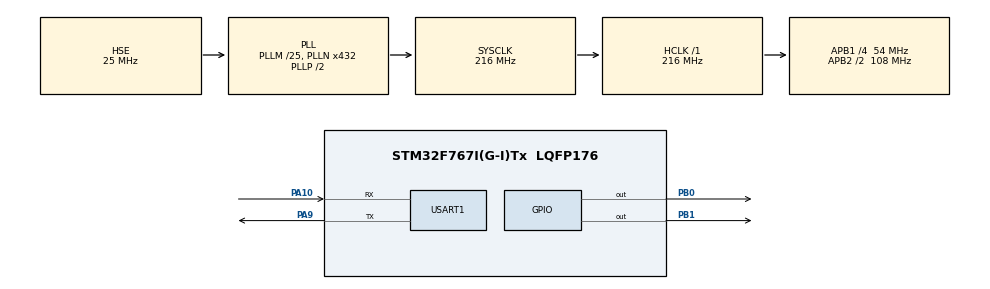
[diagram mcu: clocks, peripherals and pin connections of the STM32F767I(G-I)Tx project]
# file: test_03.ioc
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CORTEX_M7.default_mode_Activation=1
Mcu.Family=STM32F7
Mcu.Name=STM32F767I(G-I)Tx
Mcu.Package=LQFP176
NVIC.PriorityGroup=NVIC_PRIORITYGROUP_2
NVIC.USART1_IRQn=true\:3\:3\:true\:false\:true\:true\:true\:true
PA10.GPIO_ModeDefaultPP=GPIO_MODE_AF_PP
PA10.GPIO_PuPd=GPIO_PULLUP
PA10.Mode=Asynchronous
PA10.Signal=USART1_RX
PA9.GPIO_ModeDefaultPP=GPIO_MODE_AF_PP
PA9.GPIO_PuPd=GPIO_PULLUP
PA9.Mode=Asynchronous
PA9.Signal=USART1_TX
PB0.GPIO_ModeDefaultOutputPP=GPIO_MODE_OUTPUT_PP
PB0.GPIO_PuPd=GPIO_PULLUP
PB0.GPIO_Speed=GPIO_SPEED_FREQ_HIGH
PB0.PinState=GPIO_PIN_SET
PB0.Signal=GPIO_Output
PB1.GPIO_ModeDefaultOutputPP=GPIO_MODE_OUTPUT_PP
PB1.GPIO_PuPd=GPIO_PULLUP
PB1.GPIO_Speed=GPIO_SPEED_FREQ_HIGH
PB1.PinState=GPIO_PIN_SET
PB1.Signal=GPIO_Output
PH0/OSC_IN.Mode=HSE-External-Oscillator
PH0/OSC_IN.Signal=RCC_OSC_IN
PH1/OSC_OUT.Mode=HSE-External-Oscillator
PH1/OSC_OUT.Signal=RCC_OSC_OUT
ProjectManager.HeapSize=0x200
ProjectManager.StackSize=0x400
ProjectManager.TargetToolchain=MDK-ARM V5.32
RCC.AHBFreq_Value=216000000
RCC.APB1CLKDivider=RCC_HCLK_DIV4
RCC.APB1Freq_Value=54000000
RCC.APB1TimFreq_Value=108000000
RCC.APB2CLKDivider=RCC_HCLK_DIV2
RCC.APB2Freq_Value=108000000
RCC.APB2TimFreq_Value=216000000
RCC.CortexFreq_Value=216000000
RCC.HCLKFreq_Value=216000000
RCC.HSE_VALUE=25000000
RCC.HSI_VALUE=16000000
RCC.LSE_VALUE=32768
RCC.PLLM=25
RCC.PLLN=432
RCC.PLLSourceVirtual=RCC_PLLSOURCE_HSE
RCC.SYSCLKFreq_VALUE=216000000
RCC.SYSCLKSource=RCC_SYSCLKSOURCE_PLLCLK
RCC.USBFreq_Value=216000000
RCC.VCOOutputFreq_Value=432000000
USART1.VirtualMode-Asynchronous=VM_ASYNC
board=custom

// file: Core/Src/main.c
/* USER CODE BEGIN Header */
/**
  ******************************************************************************
  * @file           : main.c
  * @brief          : Main program body
  ******************************************************************************
  * @attention
  *
  * Copyright (c) 2022 STMicroelectronics.
  * All rights reserved.
  *
  * This software is licensed under terms that can be found in the LICENSE file
  * in the root directory of this software component.
  * If no LICENSE file comes with this software, it is provided AS-IS.
  *
  ******************************************************************************
  */
/* USER CODE END Header */
#include "main.h"

/* USER CODE BEGIN Includes */
#include "stdio.h"		//引入标准输入输出头文件
/* USER CODE END Includes */

UART_HandleTypeDef huart1;

/* USER CODE BEGIN PV */
uint16_t times=0;
uint8_t USART_RX_BUF[USART_REC_LEN];     //接收缓冲,最大USART_REC_LEN个字节.
//接收状态
//bit15，	接收完成标志
//bit14，	接收到0x0d
//bit13~0，	接收到的有效字节数目
uint16_t USART_RX_STA=0;       //接收状态标记
uint8_t aRxBuffer[RXBUFFERSIZE];//HAL库使用的串口接收缓冲
/* USER CODE END PV */

void SystemClock_Config(void);
static void MPU_Config(void);
static void MX_GPIO_Init(void);
static void MX_USART1_UART_Init(void);

/* USER CODE BEGIN 0 */
//加入以下代码,支持printf函数,而不需要选择use MicroLIB
#if 1
#pragma import(__use_no_semihosting)
//解决HAL库使用时,某些情况可能报错的bug
int _ttywrch(int ch)
{
    ch=ch;
	return ch;
}
//标准库需要的支持函数
struct __FILE
{
	int handle;
	/* Whatever you require here. If the only file you are using is */
	/* standard output using printf() for debugging, no file handling */
	/* is required. */
};
/* FILE is typedef’ d in stdio.h. */
FILE __stdout;
//定义_sys_exit()以避免使用半主机模式
void _sys_exit(int x)
{
	x = x;
}
//重定义fputc函数
int fputc(int ch, FILE *f)
{
	while((USART1->ISR&0X40)==0);//循环发送,直到发送完毕
	USART1->TDR = (uint8_t) ch;
	return ch;
}
#endif
//end
/* USER CODE END 0 */

int main(void)
{
  /* USER CODE BEGIN 1 */
  uint8_t len;
  /* USER CODE END 1 */

  /* MPU Configuration--------------------------------------------------------*/
  MPU_Config();

  /* MCU Configuration--------------------------------------------------------*/

  /* Reset of all peripherals, Initializes the Flash interface and the Systick. */
  HAL_Init();

  /* Configure the system clock */
  SystemClock_Config();

  /* Initialize all configured peripherals */
  MX_GPIO_Init();
  MX_USART1_UART_Init();
  /* USER CODE BEGIN 2 */
  HAL_UART_Receive_IT(&huart1, (uint8_t *)aRxBuffer, RXBUFFERSIZE);		//打开串口1接收中断
  /* USER CODE END 2 */

  /* Infinite loop */
  /* USER CODE BEGIN WHILE */
  while (1)
  {
       if(USART_RX_STA&0x8000)
		{
			len=USART_RX_STA&0x3fff;//得到此次接收到的数据长度
			printf("\r\n您发送的消息为:\r\n");
			HAL_UART_Transmit(&huart1,(uint8_t*)USART_RX_BUF,len,1000);	//发送接收到的数据
			while(__HAL_UART_GET_FLAG(&huart1,UART_FLAG_TC)!=SET);		//等待发送结束
			printf("\r\n\r\n");//插入换行
			USART_RX_STA=0;
		}else
		{
			times++;
			if(times%5000==0)
			{
				printf("\r\nALIENTEK STM32F7开发板 串口实验\r\n");
				printf("正点原子@ALIENTEK\r\n\r\n\r\n");
			}
			if(times%200==0)printf("请输入数据,以回车键结束\r\n");
			if(times%30==0)LED0_Toggle;//闪烁LED,提示系统正在运行.
			HAL_Delay(10);
		}
    /* USER CODE END WHILE */

  }
}

void SystemClock_Config(void)
{
  RCC_OscInitTypeDef RCC_OscInitStruct = {0};
  RCC_ClkInitTypeDef RCC_ClkInitStruct = {0};

  /** Configure the main internal regulator output voltage
  */
  __HAL_RCC_PWR_CLK_ENABLE();
  __HAL_PWR_VOLTAGESCALING_CONFIG(PWR_REGULATOR_VOLTAGE_SCALE1);

  /** Initializes the RCC Oscillators according to the specified parameters
  * in the RCC_OscInitTypeDef structure.
  */
  RCC_OscInitStruct.OscillatorType = RCC_OSCILLATORTYPE_HSE;
  RCC_OscInitStruct.HSEState = RCC_HSE_ON;
  RCC_OscInitStruct.PLL.PLLState = RCC_PLL_ON;
  RCC_OscInitStruct.PLL.PLLSource = RCC_PLLSOURCE_HSE;
  RCC_OscInitStruct.PLL.PLLM = 25;
  RCC_OscInitStruct.PLL.PLLN = 432;
  RCC_OscInitStruct.PLL.PLLP = RCC_PLLP_DIV2;
  RCC_OscInitStruct.PLL.PLLQ = 2;
  RCC_OscInitStruct.PLL.PLLR = 2;
  if (HAL_RCC_OscConfig(&RCC_OscInitStruct) != HAL_OK)
  {
    Error_Handler();
  }

  /** Activate the Over-Drive mode
  */
  if (HAL_PWREx_EnableOverDrive() != HAL_OK)
  {
    Error_Handler();
  }

  /** Initializes the CPU, AHB and APB buses clocks
  */
  RCC_ClkInitStruct.ClockType = RCC_CLOCKTYPE_HCLK|RCC_CLOCKTYPE_SYSCLK
                              |RCC_CLOCKTYPE_PCLK1|RCC_CLOCKTYPE_PCLK2;
  RCC_ClkInitStruct.SYSCLKSource = RCC_SYSCLKSOURCE_PLLCLK;
  RCC_ClkInitStruct.AHBCLKDivider = RCC_SYSCLK_DIV1;
  RCC_ClkInitStruct.APB1CLKDivider = RCC_HCLK_DIV4;
  RCC_ClkInitStruct.APB2CLKDivider = RCC_HCLK_DIV2;

  if (HAL_RCC_ClockConfig(&RCC_ClkInitStruct, FLASH_LATENCY_7) != HAL_OK)
  {
    Error_Handler();
  }
}

static void MX_USART1_UART_Init(void)
{

  huart1.Instance = USART1;
  huart1.Init.BaudRate = 115200;
  huart1.Init.WordLength = UART_WORDLENGTH_8B;
  huart1.Init.StopBits = UART_STOPBITS_1;
  huart1.Init.Parity = UART_PARITY_NONE;
  huart1.Init.Mode = UART_MODE_TX_RX;
  huart1.Init.HwFlowCtl = UART_HWCONTROL_NONE;
  huart1.Init.OverSampling = UART_OVERSAMPLING_16;
  huart1.Init.OneBitSampling = UART_ONE_BIT_SAMPLE_DISABLE;
  huart1.AdvancedInit.AdvFeatureInit = UART_ADVFEATURE_NO_INIT;
  if (HAL_UART_Init(&huart1) != HAL_OK)
  {
    Error_Handler();
  }

}

static void MX_GPIO_Init(void)
{
  GPIO_InitTypeDef GPIO_InitStruct = {0};

  /* GPIO Ports Clock Enable */
  __HAL_RCC_GPIOH_CLK_ENABLE();
  __HAL_RCC_GPIOB_CLK_ENABLE();
  __HAL_RCC_GPIOA_CLK_ENABLE();

  /*Configure GPIO pin Output Level */
  HAL_GPIO_WritePin(GPIOB, GPIO_PIN_0|GPIO_PIN_1, GPIO_PIN_SET);

  /*Configure GPIO pins : PB0 PB1 */
  GPIO_InitStruct.Pin = GPIO_PIN_0|GPIO_PIN_1;
  GPIO_InitStruct.Mode = GPIO_MODE_OUTPUT_PP;
  GPIO_InitStruct.Pull = GPIO_PULLUP;
  GPIO_InitStruct.Speed = GPIO_SPEED_FREQ_HIGH;
  HAL_GPIO_Init(GPIOB, &GPIO_InitStruct);

}

/* USER CODE BEGIN 4 */
//中断接收完毕回调函数
void HAL_UART_RxCpltCallback(UART_HandleTypeDef *huart)
{
	if((USART_RX_STA&0x8000)==0)//接收未完成
	{
		if(USART_RX_STA&0x4000)//接收到了0x0d
		{
			if(aRxBuffer[0]!=0x0a)USART_RX_STA=0;//接收错误,重新开始
			else USART_RX_STA|=0x8000;	//接收完成了
		}
		else //还没收到0X0D
		{
			if(aRxBuffer[0]==0x0d)USART_RX_STA|=0x4000;
			else
			{
				USART_RX_BUF[USART_RX_STA&0X3FFF]=aRxBuffer[0] ;
				USART_RX_STA++;
				if(USART_RX_STA>(USART_REC_LEN-1))USART_RX_STA=0;//接收数据错误,重新开始接收
			}
		}
	}
}

/* USER CODE END 4 */

/* MPU Configuration */

void MPU_Config(void)
{
  MPU_Region_InitTypeDef MPU_InitStruct = {0};

  /* Disables the MPU */
  HAL_MPU_Disable();

  /** Initializes and configures the Region and the memory to be protected
  */
  MPU_InitStruct.Enable = MPU_REGION_ENABLE;
  MPU_InitStruct.Number = MPU_REGION_NUMBER0;
  MPU_InitStruct.BaseAddress = 0x0;
  MPU_InitStruct.Size = MPU_REGION_SIZE_4GB;
  MPU_InitStruct.SubRegionDisable = 0x87;
  MPU_InitStruct.TypeExtField = MPU_TEX_LEVEL0;
  MPU_InitStruct.AccessPermission = MPU_REGION_NO_ACCESS;
  MPU_InitStruct.DisableExec = MPU_INSTRUCTION_ACCESS_DISABLE;
  MPU_InitStruct.IsShareable = MPU_ACCESS_SHAREABLE;
  MPU_InitStruct.IsCacheable = MPU_ACCESS_NOT_CACHEABLE;
  MPU_InitStruct.IsBufferable = MPU_ACCESS_NOT_BUFFERABLE;

  HAL_MPU_ConfigRegion(&MPU_InitStruct);
  /* Enables the MPU */
  HAL_MPU_Enable(MPU_PRIVILEGED_DEFAULT);

}

void Error_Handler(void)
{
  __disable_irq();
  while (1)
  {
  }
}
